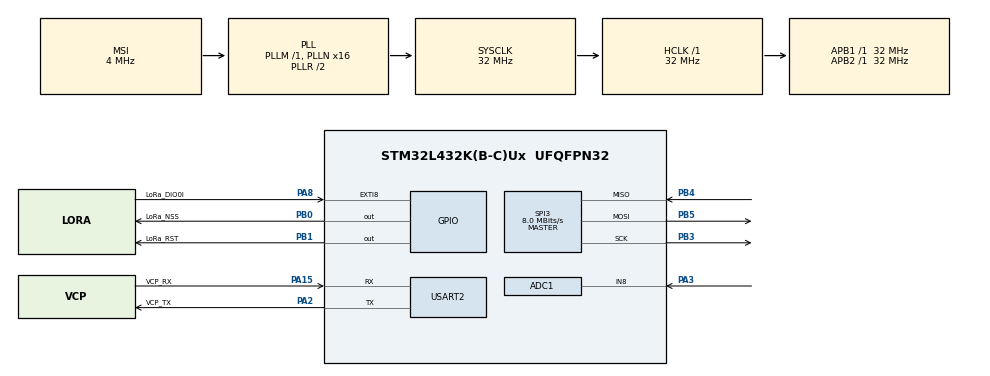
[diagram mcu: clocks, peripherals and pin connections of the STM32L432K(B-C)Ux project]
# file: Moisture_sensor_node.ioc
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ADC1.Channel-0\#ChannelRegularConversion=ADC_CHANNEL_8
ADC1.NbrOfConversionFlag=1
ADC1.OffsetNumber-0\#ChannelRegularConversion=ADC_OFFSET_NONE
ADC1.Rank-0\#ChannelRegularConversion=1
ADC1.Resolution=ADC_RESOLUTION_12B
ADC1.SamplingTime-0\#ChannelRegularConversion=ADC_SAMPLETIME_2CYCLES_5
ADC1.master=1
Mcu.Family=STM32L4
Mcu.Name=STM32L432K(B-C)Ux
Mcu.Package=UFQFPN32
NVIC.PriorityGroup=NVIC_PRIORITYGROUP_4
PA0.GPIO_Label=MCO [High speed clock in]
PA0.Mode=HSE-External-Clock-Source-for-LittleOrca
PA0.Signal=RCC_CK_IN
PA13\ (JTMS-SWDIO).GPIO_Label=SWDIO
PA13\ (JTMS-SWDIO).Mode=Serial_Wire
PA13\ (JTMS-SWDIO).Signal=SYS_JTMS-SWDIO
PA14\ (JTCK-SWCLK).GPIO_Label=SWCLK
PA14\ (JTCK-SWCLK).Mode=Serial_Wire
PA14\ (JTCK-SWCLK).Signal=SYS_JTCK-SWCLK
PA15\ (JTDI).GPIO_Label=VCP_RX
PA15\ (JTDI).Mode=Asynchronous
PA15\ (JTDI).Signal=USART2_RX
PA2.GPIO_Label=VCP_TX
PA2.Mode=Asynchronous
PA2.Signal=USART2_TX
PA3.Signal=ADCx_IN8
PA8.GPIO_Label=LoRa_DIO0l
PA8.GPIO_ModeDefaultEXTI=GPIO_MODE_IT_RISING
PA8.Signal=GPXTI8
PB0.GPIO_Label=LoRa_NSS
PB0.GPIO_Speed=GPIO_SPEED_FREQ_HIGH
PB0.PinState=GPIO_PIN_SET
PB0.Signal=GPIO_Output
PB1.GPIO_Label=LoRa_RST
PB1.PinState=GPIO_PIN_SET
PB1.Signal=GPIO_Output
PB3\ (JTDO-TRACESWO).Mode=Full_Duplex_Master
PB3\ (JTDO-TRACESWO).Signal=SPI3_SCK
PB4\ (NJTRST).Mode=Full_Duplex_Master
PB4\ (NJTRST).Signal=SPI3_MISO
PB5.Mode=Full_Duplex_Master
PB5.Signal=SPI3_MOSI
PC14-OSC32_IN\ (PC14).Mode=LSE-External-Oscillator
PC14-OSC32_IN\ (PC14).Signal=RCC_OSC32_IN
PC15-OSC32_OUT\ (PC15).Mode=LSE-External-Oscillator
PC15-OSC32_OUT\ (PC15).Signal=RCC_OSC32_OUT
ProjectManager.HeapSize=0x200
ProjectManager.StackSize=0x400
ProjectManager.TargetToolchain=STM32CubeIDE
RCC.ADCFreq_Value=32000000
RCC.AHBFreq_Value=32000000
RCC.APB1Freq_Value=32000000
RCC.APB1TimFreq_Value=32000000
RCC.APB2Freq_Value=32000000
RCC.APB2TimFreq_Value=32000000
RCC.CortexFreq_Value=32000000
RCC.HCLKFreq_Value=32000000
RCC.HSE_VALUE=8000000
RCC.HSI16_VALUE=16000000
RCC.HSI48_VALUE=48000000
RCC.HSI_VALUE=16000000
RCC.MSI_VALUE=4000000
RCC.PLLMUL=RCC_PLLMUL_4
RCC.PLLN=16
RCC.PLLSAI1N=16
RCC.SYSCLKFreq_VALUE=32000000
RCC.SYSCLKSource=RCC_SYSCLKSOURCE_PLLCLK
RCC.USBFreq_Value=32000000
RCC.VCOOutputFreq_Value=64000000
SH.ADCx_IN8.0=ADC1_IN8,IN8-Single-Ended
SPI3.BaudRatePrescaler=SPI_BAUDRATEPRESCALER_4
SPI3.CalculateBaudRate=8.0 MBits/s
SPI3.DataSize=SPI_DATASIZE_8BIT
SPI3.Direction=SPI_DIRECTION_2LINES
SPI3.Mode=SPI_MODE_MASTER
SPI3.VirtualType=VM_MASTER
USART2.VirtualMode-Asynchronous=VM_ASYNC
board=NUCLEO-L432KC

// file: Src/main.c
/* USER CODE BEGIN Header */
/**
  ******************************************************************************
  * @file           : main.c
  * @brief          : Main program body
  ******************************************************************************
  * @attention
  *
  * Copyright (c) 2023 STMicroelectronics.
  * All rights reserved.
  *
  * This software is licensed under terms that can be found in the LICENSE file
  * in the root directory of this software component.
  * If no LICENSE file comes with this software, it is provided AS-IS.
  *
  ******************************************************************************
  */
/* USER CODE END Header */
#include "main.h"

/* USER CODE BEGIN Includes */
#include "stdio.h"

#include "humid_node.h"
/* USER CODE END Includes */

ADC_HandleTypeDef hadc1;

SPI_HandleTypeDef hspi3;

UART_HandleTypeDef huart2;

/* USER CODE BEGIN PV */
HumidNode humidNode;
/* USER CODE END PV */

void SystemClock_Config(void);
static void MX_GPIO_Init(void);
static void MX_USART2_UART_Init(void);
static void MX_ADC1_Init(void);
static void MX_SPI3_Init(void);

/* USER CODE BEGIN 0 */
extern int __io_putchar(int ch) __attribute__((weak));

int _write(int file, char *ptr, int len) {
    (void)file;
    int DataIdx;

    for (DataIdx = 0; DataIdx < len; DataIdx++)
    {
        HAL_UART_Transmit(&huart2, (uint8_t*)ptr, 1,HAL_MAX_DELAY);
        __io_putchar(*ptr++);
    }
    return len;
}

void logMessage(char* message) {
    printf("[%08lu]%s\r\n", HAL_GetTick(), message);
}
/* USER CODE END 0 */

int main(void)
{

  /* MCU Configuration--------------------------------------------------------*/

  /* Reset of all peripherals, Initializes the Flash interface and the Systick. */
  HAL_Init();

  /* Configure the system clock */
  SystemClock_Config();

  /* Initialize all configured peripherals */
  MX_GPIO_Init();
  MX_USART2_UART_Init();
  MX_ADC1_Init();
  MX_SPI3_Init();
  /* USER CODE BEGIN 2 */
  logMessage("Init HumidNode entity");
  humidNode = newHumidNode();

  humidNode.adc                     = &hadc1;
  humidNode.spi                     = &hspi3;
  humidNode.uart                    = &huart2;

  humidNode.loraModule.hSPIx        = &hspi3;
  humidNode.loraModule.CS_port      = LoRa_NSS_GPIO_Port;
  humidNode.loraModule.CS_pin       = LoRa_NSS_Pin;
  humidNode.loraModule.reset_port   = LoRa_RST_GPIO_Port;
  humidNode.loraModule.reset_pin    = LoRa_RST_Pin;
  humidNode.loraModule.DIO0_port    = LoRa_DIO0l_GPIO_Port;
  humidNode.loraModule.DIO0_pin     = LoRa_DIO0l_Pin;

  uint16_t status = LoRa_init(&humidNode.loraModule);
  printf("Lora status: %d\n\r", status);
  /* USER CODE END 2 */

  /* Infinite loop */
  /* USER CODE BEGIN WHILE */
#pragma clang diagnostic push
#pragma ide diagnostic ignored "EndlessLoop"
  while (1)
  {
    /* USER CODE END WHILE */

    /* USER CODE BEGIN 3 */
    HumidNode_mainLoop(&humidNode);
    HAL_Delay(2000);
  }
#pragma clang diagnostic pop
  /* USER CODE END 3 */
}

void SystemClock_Config(void)
{
  RCC_OscInitTypeDef RCC_OscInitStruct = {0};
  RCC_ClkInitTypeDef RCC_ClkInitStruct = {0};

  /** Configure the main internal regulator output voltage
  */
  if (HAL_PWREx_ControlVoltageScaling(PWR_REGULATOR_VOLTAGE_SCALE1) != HAL_OK)
  {
    Error_Handler();
  }

  /** Configure LSE Drive Capability
  */
  HAL_PWR_EnableBkUpAccess();
  __HAL_RCC_LSEDRIVE_CONFIG(RCC_LSEDRIVE_LOW);

  /** Initializes the RCC Oscillators according to the specified parameters
  * in the RCC_OscInitTypeDef structure.
  */
  RCC_OscInitStruct.OscillatorType = RCC_OSCILLATORTYPE_LSE|RCC_OSCILLATORTYPE_MSI;
  RCC_OscInitStruct.LSEState = RCC_LSE_ON;
  RCC_OscInitStruct.MSIState = RCC_MSI_ON;
  RCC_OscInitStruct.MSICalibrationValue = 0;
  RCC_OscInitStruct.MSIClockRange = RCC_MSIRANGE_6;
  RCC_OscInitStruct.PLL.PLLState = RCC_PLL_ON;
  RCC_OscInitStruct.PLL.PLLSource = RCC_PLLSOURCE_MSI;
  RCC_OscInitStruct.PLL.PLLM = 1;
  RCC_OscInitStruct.PLL.PLLN = 16;
  RCC_OscInitStruct.PLL.PLLP = RCC_PLLP_DIV7;
  RCC_OscInitStruct.PLL.PLLQ = RCC_PLLQ_DIV2;
  RCC_OscInitStruct.PLL.PLLR = RCC_PLLR_DIV2;
  if (HAL_RCC_OscConfig(&RCC_OscInitStruct) != HAL_OK)
  {
    Error_Handler();
  }

  /** Initializes the CPU, AHB and APB buses clocks
  */
  RCC_ClkInitStruct.ClockType = RCC_CLOCKTYPE_HCLK|RCC_CLOCKTYPE_SYSCLK
                              |RCC_CLOCKTYPE_PCLK1|RCC_CLOCKTYPE_PCLK2;
  RCC_ClkInitStruct.SYSCLKSource = RCC_SYSCLKSOURCE_PLLCLK;
  RCC_ClkInitStruct.AHBCLKDivider = RCC_SYSCLK_DIV1;
  RCC_ClkInitStruct.APB1CLKDivider = RCC_HCLK_DIV1;
  RCC_ClkInitStruct.APB2CLKDivider = RCC_HCLK_DIV1;

  if (HAL_RCC_ClockConfig(&RCC_ClkInitStruct, FLASH_LATENCY_1) != HAL_OK)
  {
    Error_Handler();
  }

  /** Enable MSI Auto calibration
  */
  HAL_RCCEx_EnableMSIPLLMode();
}

static void MX_ADC1_Init(void)
{

  ADC_ChannelConfTypeDef sConfig = {0};

  /** Common config
  */
  hadc1.Instance = ADC1;
  hadc1.Init.ClockPrescaler = ADC_CLOCK_ASYNC_DIV1;
  hadc1.Init.Resolution = ADC_RESOLUTION_12B;
  hadc1.Init.DataAlign = ADC_DATAALIGN_RIGHT;
  hadc1.Init.ScanConvMode = ADC_SCAN_DISABLE;
  hadc1.Init.EOCSelection = ADC_EOC_SINGLE_CONV;
  hadc1.Init.LowPowerAutoWait = DISABLE;
  hadc1.Init.ContinuousConvMode = DISABLE;
  hadc1.Init.NbrOfConversion = 1;
  hadc1.Init.DiscontinuousConvMode = DISABLE;
  hadc1.Init.ExternalTrigConv = ADC_SOFTWARE_START;
  hadc1.Init.ExternalTrigConvEdge = ADC_EXTERNALTRIGCONVEDGE_NONE;
  hadc1.Init.DMAContinuousRequests = DISABLE;
  hadc1.Init.Overrun = ADC_OVR_DATA_PRESERVED;
  hadc1.Init.OversamplingMode = DISABLE;
  if (HAL_ADC_Init(&hadc1) != HAL_OK)
  {
    Error_Handler();
  }

  /** Configure Regular Channel
  */
  sConfig.Channel = ADC_CHANNEL_8;
  sConfig.Rank = ADC_REGULAR_RANK_1;
  sConfig.SamplingTime = ADC_SAMPLETIME_2CYCLES_5;
  sConfig.SingleDiff = ADC_SINGLE_ENDED;
  sConfig.OffsetNumber = ADC_OFFSET_NONE;
  sConfig.Offset = 0;
  if (HAL_ADC_ConfigChannel(&hadc1, &sConfig) != HAL_OK)
  {
    Error_Handler();
  }

}

static void MX_SPI3_Init(void)
{

  /* SPI3 parameter configuration*/
  hspi3.Instance = SPI3;
  hspi3.Init.Mode = SPI_MODE_MASTER;
  hspi3.Init.Direction = SPI_DIRECTION_2LINES;
  hspi3.Init.DataSize = SPI_DATASIZE_8BIT;
  hspi3.Init.CLKPolarity = SPI_POLARITY_LOW;
  hspi3.Init.CLKPhase = SPI_PHASE_1EDGE;
  hspi3.Init.NSS = SPI_NSS_SOFT;
  hspi3.Init.BaudRatePrescaler = SPI_BAUDRATEPRESCALER_4;
  hspi3.Init.FirstBit = SPI_FIRSTBIT_MSB;
  hspi3.Init.TIMode = SPI_TIMODE_DISABLE;
  hspi3.Init.CRCCalculation = SPI_CRCCALCULATION_DISABLE;
  hspi3.Init.CRCPolynomial = 7;
  hspi3.Init.CRCLength = SPI_CRC_LENGTH_DATASIZE;
  hspi3.Init.NSSPMode = SPI_NSS_PULSE_ENABLE;
  if (HAL_SPI_Init(&hspi3) != HAL_OK)
  {
    Error_Handler();
  }

}

static void MX_USART2_UART_Init(void)
{

  huart2.Instance = USART2;
  huart2.Init.BaudRate = 115200;
  huart2.Init.WordLength = UART_WORDLENGTH_8B;
  huart2.Init.StopBits = UART_STOPBITS_1;
  huart2.Init.Parity = UART_PARITY_NONE;
  huart2.Init.Mode = UART_MODE_TX_RX;
  huart2.Init.HwFlowCtl = UART_HWCONTROL_NONE;
  huart2.Init.OverSampling = UART_OVERSAMPLING_16;
  huart2.Init.OneBitSampling = UART_ONE_BIT_SAMPLE_DISABLE;
  huart2.AdvancedInit.AdvFeatureInit = UART_ADVFEATURE_NO_INIT;
  if (HAL_UART_Init(&huart2) != HAL_OK)
  {
    Error_Handler();
  }

}

static void MX_GPIO_Init(void)
{
  GPIO_InitTypeDef GPIO_InitStruct = {0};

  /* GPIO Ports Clock Enable */
  __HAL_RCC_GPIOC_CLK_ENABLE();
  __HAL_RCC_GPIOA_CLK_ENABLE();
  __HAL_RCC_GPIOB_CLK_ENABLE();

  /*Configure GPIO pin Output Level */
  HAL_GPIO_WritePin(GPIOB, LoRa_NSS_Pin|LoRa_RST_Pin, GPIO_PIN_SET);

  /*Configure GPIO pin : LoRa_NSS_Pin */
  GPIO_InitStruct.Pin = LoRa_NSS_Pin;
  GPIO_InitStruct.Mode = GPIO_MODE_OUTPUT_PP;
  GPIO_InitStruct.Pull = GPIO_NOPULL;
  GPIO_InitStruct.Speed = GPIO_SPEED_FREQ_HIGH;
  HAL_GPIO_Init(LoRa_NSS_GPIO_Port, &GPIO_InitStruct);

  /*Configure GPIO pin : LoRa_RST_Pin */
  GPIO_InitStruct.Pin = LoRa_RST_Pin;
  GPIO_InitStruct.Mode = GPIO_MODE_OUTPUT_PP;
  GPIO_InitStruct.Pull = GPIO_NOPULL;
  GPIO_InitStruct.Speed = GPIO_SPEED_FREQ_LOW;
  HAL_GPIO_Init(LoRa_RST_GPIO_Port, &GPIO_InitStruct);

  /*Configure GPIO pin : LoRa_DIO0l_Pin */
  GPIO_InitStruct.Pin = LoRa_DIO0l_Pin;
  GPIO_InitStruct.Mode = GPIO_MODE_IT_RISING;
  GPIO_InitStruct.Pull = GPIO_NOPULL;
  HAL_GPIO_Init(LoRa_DIO0l_GPIO_Port, &GPIO_InitStruct);

}

void Error_Handler(void)
{
  /* USER CODE BEGIN Error_Handler_Debug */
  /* User can add his own implementation to report the HAL error return state */
  __disable_irq();
#pragma clang diagnostic push
#pragma ide diagnostic ignored "EndlessLoop"
  while (1)
  {
  }
#pragma clang diagnostic pop
  /* USER CODE END Error_Handler_Debug */
}
